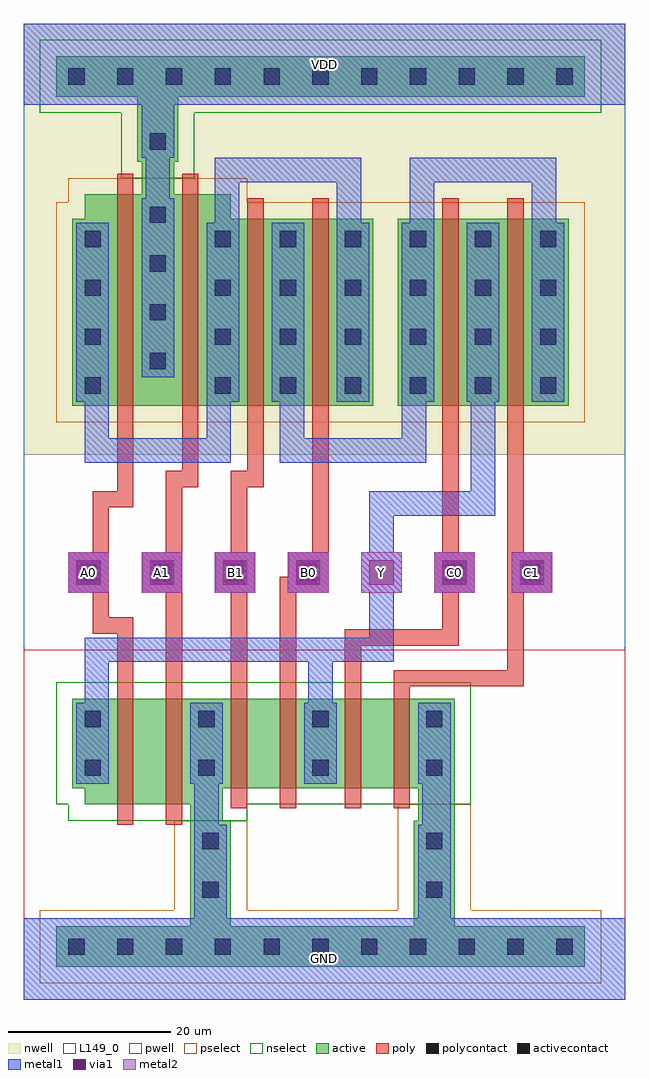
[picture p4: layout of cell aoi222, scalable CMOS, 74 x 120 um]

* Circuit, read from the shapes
.subckt aoi222 A0 A1 B0 B1 C0 C1 GND VDD Y
M1 n1 A0 Y GND nfet w=13u l=2u
M2 GND A1 n1 GND nfet w=13u l=2u
M3 n2 B1 GND GND nfet w=11u l=2u
M4 Y B0 n2 GND nfet w=11u l=2u
M5 n3 C0 Y GND nfet w=11u l=2u
M6 GND C1 n3 GND nfet w=11u l=2u
M7 VDD A0 n4 VDD pfet w=26u l=2u
M8 n4 A1 VDD VDD pfet w=26u l=2u
M9 n5 B1 n4 VDD pfet w=23u l=2u
M10 n4 B0 n5 VDD pfet w=23u l=2u
M11 Y C0 n5 VDD pfet w=23u l=2u
M12 n5 C1 Y VDD pfet w=23u l=2u
.ends

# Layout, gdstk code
import gdstk
lib = gdstk.Library(unit=1e-6, precision=1e-09)
def R(c, l, rs):  # rectangles x0, y0, x1, y1
    for r in rs: c.add(gdstk.rectangle(r[:2], r[2:], *l))
def A(c, l, x, y, w, h, nx, ny, dx, dy):  # array of equal rectangles
    R(c, l, [(x+i*dx, y+j*dy, x+i*dx+w, y+j*dy+h) for i in range(nx) for j in range(ny)])
def P(c, l, *ps):  # polygons
    for p in ps: c.add(gdstk.Polygon(p, *l))
pwell = (41, 0)
nwell = (42, 0)
active = (43, 0)
pselect = (44, 0)
nselect = (45, 0)
poly = (46, 0)
polycontact = (47, 0)
activecontact = (48, 0)
metal1 = (49, 0)
via1 = (50, 0)
metal2 = (51, 0)
L149_0 = (149, 0)

via = lib.new_cell('via')
R(via, metal1, [(-2.5,-2.5,2.5,2.5)])
R(via, via1, [(-1.5,-1.5,1.5,1.5)])
R(via, metal2, [(-2.5,-2.5,2.5,2.5)])

aoi222 = lib.new_cell('aoi222')
R(aoi222, pwell, [(0,0,74,43)])
P(aoi222, pwell, [(1.5,18),(1.5,20),(0,20),(0,43),(59,43),(59,20),(29.5,20),(29.5,18)])
R(aoi222, nwell, [(0,67,74,120), (40,67,73,102)])
P(aoi222, nwell, [(0,67),(0,102),(1.5,102),(1.5,105),(31.5,105),(31.5,102),(49,102),(49,67)])
R(aoi222, active, [(4,4,69,9), (20.5,9,25.5,22), (48,9,53,22), (20.5,22,24.5,24), (48.5,22,53,26), (23.5,24,24.5,26), (47.5,26,53,37), (37.5,73,43,96), (46,73,51.5,96), (46,73,67,96), (61.5,73,67,96), (14.5,99,18.5,103), (14,103,19,111), (4,111,69,116)])
P(aoi222, active, [(6,73),(6,96),(7.5,96),(7.5,99),(25.5,99),(25.5,96),(43,96),(43,73)],
  [(6,73),(6,96),(7.5,96),(7.5,99),(11.5,99),(11.5,73)],
  [(7.5,24),(7.5,26),(6,26),(6,37),(53,37),(53,26),(23.5,26),(23.5,24)],
  [(7.5,24),(7.5,26),(6,26),(6,37),(11.5,37),(11.5,24)])
R(aoi222, pselect, [(2,2,71,11), (18.5,11,27.5,22), (46,11,55,24), (44,71,69,98)])
P(aoi222, pselect, [(4,71),(4,98),(5.5,98),(5.5,101),(27.5,101),(27.5,98),(45,98),(45,71)])
R(aoi222, nselect, [(25.5,22,27.5,24), (12,101,21,109), (2,109,71,118)])
P(aoi222, nselect, [(5.5,22),(5.5,24),(4,24),(4,39),(55,39),(55,24),(25.5,24),(25.5,22)])
A(aoi222, poly, 5.5, 50, 5, 5, 4, 1, 9, 0)
A(aoi222, poly, 11.5, 70.5, 2, 2.5, 4, 1, 8, 0)
R(aoi222, poly, [(11.5,21.5,13.5,24), (17.5,21.5,19.5,24), (25.5,23.5,27.5,26), (31.5,23.5,33.5,26), (39.5,23.5,41.5,26), (45.5,23.5,47.5,26), (11.5,24,13.5,37), (17.5,24,19.5,37), (25.5,26,27.5,37), (31.5,26,33.5,37), (39.5,26,41.5,37), (45.5,26,47.5,37), (11.5,37,13.5,39.5), (17.5,37,19.5,39.5), (25.5,37,27.5,39.5), (31.5,37,33.5,39.5), (39.5,37,41.5,39.5), (45.5,37,47.5,39.5), (50.5,50,55.5,55), (60,50,65,55), (51.5,70.5,53.5,73), (59.5,70.5,61.5,73), (11.5,73,13.5,99), (19.5,73,21.5,99), (27.5,73,29.5,96), (35.5,73,37.5,96), (51.5,73,53.5,96), (59.5,73,61.5,96), (27.5,96,29.5,98.5), (35.5,96,37.5,98.5), (51.5,96,53.5,98.5), (59.5,96,61.5,98.5), (11.5,99,13.5,101.5), (19.5,99,21.5,101.5)])
A(aoi222, polycontact, 7, 51.5, 2, 2, 4, 1, 9, 0)
R(aoi222, polycontact, [(52,51.5,54,53.5), (61.5,51.5,63.5,53.5)])
A(aoi222, activecontact, 5.5, 5.5, 2, 2, 11, 2, 6, 107)
A(aoi222, activecontact, 7.5, 27.5, 2, 2, 4, 2, 14, 6)
A(aoi222, activecontact, 7.5, 74.5, 2, 2, 1, 4, 0, 6)
A(aoi222, activecontact, 23.5, 74.5, 2, 2, 6, 4, 8, 6)
A(aoi222, activecontact, 15.5, 77.5, 2, 2, 1, 4, 0, 6)
R(aoi222, activecontact, [(22,12.5,24,14.5), (49.5,12.5,51.5,14.5), (22,18.5,24,20.5), (49.5,18.5,51.5,20.5), (15.5,104.5,17.5,106.5)])
A(aoi222, metal1, 6.5, 26.5, 4, 10, 4, 1, 14, 0)
A(aoi222, metal1, 6, 50.5, 4, 4, 4, 1, 9, 0)
A(aoi222, metal1, 22.5, 73.5, 4, 22, 6, 1, 8, 0)
R(aoi222, metal1, [(0,0,74,10), (0,0,74,10), (21,10,25,21.5), (48.5,10,52.5,21.5), (21,21.5,24,26.5), (49,21.5,52.5,26.5), (51,50.5,55,54.5), (60.5,50.5,64.5,54.5), (6.5,73.5,10.5,95.5), (14.5,76.5,18.5,98.5), (15,98.5,18,103.5), (14.5,103.5,18.5,110), (0,110,74,120), (0,110,74,120)])
A(aoi222, metal2, 5.5, 50, 5, 5, 6, 1, 9, 0)
R(aoi222, metal2, [(60,50,65,55)])
R(aoi222, L149_0, [(0,0,74,120)])
aoi222.add(gdstk.FlexPath([(40.5,39.5),(40.5,44.5),(52.5,44.5),(52.5,70.5)], 2, ends="flush", simple_path=True, layer=46, datatype=0))  # poly
aoi222.add(gdstk.FlexPath([(18.5,39.5),(18.5,64),(20.5,64),(20.5,70.5)], 2, ends="flush", simple_path=True, layer=46, datatype=0))  # poly
aoi222.add(gdstk.FlexPath([(12.5,39.5),(12.5,46),(9.5,46),(9.5,50)], 2, ends="flush", simple_path=True, layer=46, datatype=0))  # poly
aoi222.add(gdstk.FlexPath([(28.5,70.5),(28.5,64),(26.5,64),(26.5,39.5)], 2, ends="flush", simple_path=True, layer=46, datatype=0))  # poly
aoi222.add(gdstk.FlexPath([(36.5,70.5),(36.5,51),(32.5,51),(32.5,39.5)], 2, ends="flush", simple_path=True, layer=46, datatype=0))  # poly
aoi222.add(gdstk.FlexPath([(12.5,70.5),(12.5,61.5),(9.5,61.5),(9.5,55)], 2, ends="flush", simple_path=True, layer=46, datatype=0))  # poly
aoi222.add(gdstk.FlexPath([(60.5,70.5),(60.5,39.5),(45.5,39.5)], 2, ends="flush", simple_path=True, layer=46, datatype=0))  # poly
aoi222.add(gdstk.FlexPath([(48,73.5),(48,67.5),(33,67.5),(33,73.5)], 3, ends="flush", simple_path=True, layer=49, datatype=0))  # metal1
aoi222.add(gdstk.FlexPath([(40,95.5),(40,102),(25,102),(25,95.5)], 3, ends="flush", simple_path=True, layer=49, datatype=0))  # metal1
aoi222.add(gdstk.FlexPath([(56.5,73.5),(56.5,61),(44,61),(44,55)], 3, ends="flush", simple_path=True, layer=49, datatype=0))  # metal1
aoi222.add(gdstk.FlexPath([(44,50),(44,43),(38,43)], 3, ends="flush", simple_path=True, layer=49, datatype=0))  # metal1
aoi222.add(gdstk.FlexPath([(64,95.5),(64,102),(49,102),(49,95.5)], 3, ends="flush", simple_path=True, layer=49, datatype=0))  # metal1
aoi222.add(gdstk.FlexPath([(36.5,36.5),(36.5,43),(9,43),(9,36.5)], 3, ends="flush", simple_path=True, layer=49, datatype=0))  # metal1
aoi222.add(gdstk.FlexPath([(24,73.5),(24,67.5),(9,67.5),(9,73.5)], 3, ends="flush", simple_path=True, layer=49, datatype=0))  # metal1
aoi222.add(gdstk.Reference(via, (17,52.5)))
aoi222.add(gdstk.Reference(via, (44,52.5)))
aoi222.add(gdstk.Reference(via, (53,52.5)))
aoi222.add(gdstk.Reference(via, (62.5,52.5)))
aoi222.add(gdstk.Reference(via, (35,52.5)))
aoi222.add(gdstk.Reference(via, (26,52.5)))
aoi222.add(gdstk.Reference(via, (8,52.5)))
aoi222.add(gdstk.Label('GND', (37,5), layer=2, texttype=0))
aoi222.add(gdstk.Label('VDD', (37,115), layer=2, texttype=0))
aoi222.add(gdstk.Label('B0', (35,52.5), layer=3, texttype=0))
aoi222.add(gdstk.Label('B1', (26,52.5), layer=3, texttype=0))
aoi222.add(gdstk.Label('A1', (17,52.5), layer=3, texttype=0))
aoi222.add(gdstk.Label('A0', (8,52.5), layer=3, texttype=0))
aoi222.add(gdstk.Label('C1', (62.5,52.5), layer=3, texttype=0))
aoi222.add(gdstk.Label('C0', (53,52.5), layer=3, texttype=0))
aoi222.add(gdstk.Label('Y', (44,52.5), layer=3, texttype=0))
aoi222.add(gdstk.Label('GND', (37,5), layer=2, texttype=0))
aoi222.add(gdstk.Label('VDD', (37,115), layer=2, texttype=0))
aoi222.add(gdstk.Label('B0', (35,52.5), layer=3, texttype=0))
aoi222.add(gdstk.Label('B1', (26,52.5), layer=3, texttype=0))
aoi222.add(gdstk.Label('A1', (17,52.5), layer=3, texttype=0))
aoi222.add(gdstk.Label('A0', (8,52.5), layer=3, texttype=0))
aoi222.add(gdstk.Label('C1', (62.5,52.5), layer=3, texttype=0))
aoi222.add(gdstk.Label('C0', (53,52.5), layer=3, texttype=0))
aoi222.add(gdstk.Label('Y', (44,52.5), layer=3, texttype=0))

lib.write_gds('aoi222.gds')
